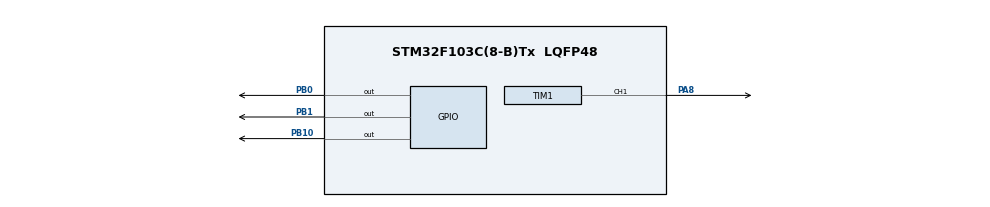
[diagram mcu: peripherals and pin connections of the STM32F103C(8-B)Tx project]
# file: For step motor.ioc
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Mcu.Family=STM32F1
Mcu.Name=STM32F103C(8-B)Tx
Mcu.Package=LQFP48
NVIC.PriorityGroup=NVIC_PRIORITYGROUP_4
PA13.Mode=Serial_Wire
PA13.Signal=SYS_JTMS-SWDIO
PA14.Mode=Serial_Wire
PA14.Signal=SYS_JTCK-SWCLK
PA8.Signal=S_TIM1_CH1
PB0.GPIO_Speed=GPIO_SPEED_FREQ_HIGH
PB0.PinState=GPIO_PIN_SET
PB0.Signal=GPIO_Output
PB1.GPIO_Speed=GPIO_SPEED_FREQ_HIGH
PB1.PinState=GPIO_PIN_SET
PB1.Signal=GPIO_Output
PB10.GPIO_Speed=GPIO_SPEED_FREQ_HIGH
PB10.PinState=GPIO_PIN_SET
PB10.Signal=GPIO_Output
PD0-OSC_IN.Mode=HSE-External-Oscillator
PD0-OSC_IN.Signal=RCC_OSC_IN
PD1-OSC_OUT.Mode=HSE-External-Oscillator
PD1-OSC_OUT.Signal=RCC_OSC_OUT
ProjectManager.HeapSize=0x200
ProjectManager.StackSize=0x400
ProjectManager.TargetToolchain=STM32CubeIDE
RCC.AHBFreq_Value=72000000
RCC.APB1CLKDivider=RCC_HCLK_DIV2
RCC.APB1Freq_Value=36000000
RCC.APB1TimFreq_Value=72000000
RCC.APB2Freq_Value=72000000
RCC.APB2TimFreq_Value=72000000
RCC.HCLKFreq_Value=72000000
RCC.HSEDivPLL=RCC_HSE_PREDIV_DIV2
RCC.HSE_VALUE=16000000
RCC.PLLMUL=RCC_PLL_MUL9
RCC.PLLSourceVirtual=RCC_PLLSOURCE_HSE
RCC.SYSCLKFreq_VALUE=72000000
RCC.SYSCLKSource=RCC_SYSCLKSOURCE_PLLCLK
RCC.USBFreq_Value=72000000
SH.S_TIM1_CH1.0=TIM1_CH1,PWM Generation1 CH1
TIM1.Channel-PWM\ Generation1\ CH1=TIM_CHANNEL_1
VP_TIM1_VS_ClockSourceINT.Mode=Internal
board=custom

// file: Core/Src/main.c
/* USER CODE BEGIN Header */
/**
  ******************************************************************************
  * @file           : main.c
  * @brief          : Main program body
  ******************************************************************************
  * @attention
  *
  * Copyright (c) 2023 STMicroelectronics.
  * All rights reserved.
  *
  * This software is licensed under terms that can be found in the LICENSE file
  * in the root directory of this software component.
  * If no LICENSE file comes with this software, it is provided AS-IS.
  *
  ******************************************************************************
  */
/* USER CODE END Header */
#include "main.h"
#include "tim.h"
#include "gpio.h"

void SystemClock_Config(void);

int main(void)
{

  /* MCU Configuration--------------------------------------------------------*/

  /* Reset of all peripherals, Initializes the Flash interface and the Systick. */
  LL_APB2_GRP1_EnableClock(LL_APB2_GRP1_PERIPH_AFIO);
  LL_APB1_GRP1_EnableClock(LL_APB1_GRP1_PERIPH_PWR);

  /* System interrupt init*/
  NVIC_SetPriorityGrouping(NVIC_PRIORITYGROUP_4);

  /* SysTick_IRQn interrupt configuration */
  NVIC_SetPriority(SysTick_IRQn, NVIC_EncodePriority(NVIC_GetPriorityGrouping(),15, 0));

  /** NOJTAG: JTAG-DP Disabled and SW-DP Enabled
  */
  LL_GPIO_AF_Remap_SWJ_NOJTAG();

  /* Configure the system clock */
  SystemClock_Config();

  /* Initialize all configured peripherals */
  MX_GPIO_Init();
  MX_TIM1_Init();
  /* USER CODE BEGIN 2 */

  void  LL_uDelay(uint16_t us)
  {
  	uint32_t temp;
  	SysTick->LOAD=us*(72000000/8000000); 		//Time loading
  	SysTick->VAL=0x00;        					//Empty the counter
  	SysTick->CTRL|=SysTick_CTRL_ENABLE_Msk ;	//Start countdown
  	do
  	{
  		temp=SysTick->CTRL;
  	}while((temp&0x01)&&!(temp&(1<<16)));		//Waiting time arrives
  	SysTick->CTRL&=~SysTick_CTRL_ENABLE_Msk;	//Close the counter
  	SysTick->VAL =0X00;      					 //Empty the counter
  }

  void  Pulse(uint16_t DA_BLYATb, uint16_t DA_NY_NAXYI)
  {
	  uint32_t i=0;

	  while (i < DA_BLYATb)
	  {
		  LL_GPIO_TogglePin(GPIOB, LL_GPIO_PIN_1);
		  LL_uDelay(DA_NY_NAXYI);
		  i++;
	  }
  	  i = 0;
  }

  LL_GPIO_SetOutputPin(GPIOB, LL_GPIO_PIN_10);
  LL_GPIO_ResetOutputPin(GPIOB, LL_GPIO_PIN_0);

  /* USER CODE END 2 */

  /* Infinite loop */
  /* USER CODE BEGIN WHILE */
  while (1)
  {
	   Pulse(23000, 180);
	  //Pulse(23000, 500);

	  LL_mDelay(200000000);

	  //LL_GPIO_TogglePin(GPIOB, LL_GPIO_PIN_1);
	 // LL_mDelay(100);

		//LL_mDelay(100000000);
    /* USER CODE END WHILE */

  }
}

void SystemClock_Config(void)
{
  LL_FLASH_SetLatency(LL_FLASH_LATENCY_2);
  while(LL_FLASH_GetLatency()!= LL_FLASH_LATENCY_2)
  {
  }
  LL_RCC_HSE_Enable();

   /* Wait till HSE is ready */
  while(LL_RCC_HSE_IsReady() != 1)
  {

  }
  LL_RCC_PLL_ConfigDomain_SYS(LL_RCC_PLLSOURCE_HSE_DIV_2, LL_RCC_PLL_MUL_9);
  LL_RCC_PLL_Enable();

   /* Wait till PLL is ready */
  while(LL_RCC_PLL_IsReady() != 1)
  {

  }
  LL_RCC_SetAHBPrescaler(LL_RCC_SYSCLK_DIV_1);
  LL_RCC_SetAPB1Prescaler(LL_RCC_APB1_DIV_2);
  LL_RCC_SetAPB2Prescaler(LL_RCC_APB2_DIV_1);
  LL_RCC_SetSysClkSource(LL_RCC_SYS_CLKSOURCE_PLL);

   /* Wait till System clock is ready */
  while(LL_RCC_GetSysClkSource() != LL_RCC_SYS_CLKSOURCE_STATUS_PLL)
  {

  }
  LL_Init1msTick(72000000);
  LL_SetSystemCoreClock(72000000);
}

void Error_Handler(void)
{
  __disable_irq();
  while (1)
  {
  }
}
